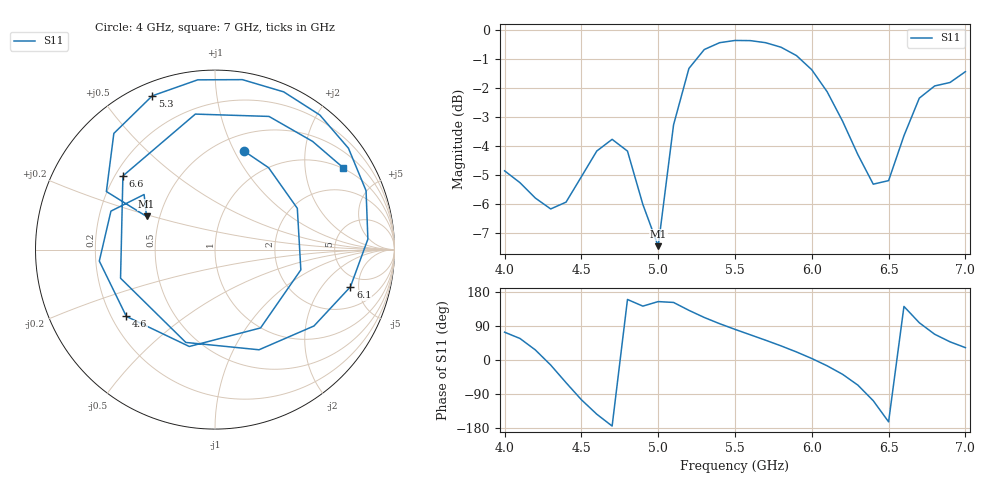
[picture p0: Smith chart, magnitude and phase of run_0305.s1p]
! Touchstone file exported from HFSS 2024.2.0
!  File:  C:/Users/wsak9/Desktop/Sim Fast/Widenad Patch/WP_AI_V1_sweep.aedt
!  Generated:  03:53:42 AM Oct 14, 2026
!  Design:  A1_model
!  Project:  WP_AI_V1_sweep
!  Setup:  Setup1
!  Solution:  Sweep
! Variables:
!  Air_gap = 3.38mm
!  Curve_Amp1 = 3.1
!  Curve_len1 = 1
!  Curve_pos = 12.565mm
!  Extra = 7.62mm
!  H_sub = 0.79mm
!  L_Patch = 21.13mm
!  L_Patch1 = 20.98mm
!  Sx = 2.91mm
!  Sy = 1.33mm
!  WS = 0.65mm
!  W_Patch = 21.04mm
!  W_Patch1 = 13.36mm
!Data is not renormalized
# GHz S MA
! Terminal data exported
! Port[1] = 1
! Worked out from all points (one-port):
!   31 points, 4 GHz to 7 GHz, reference per port
!   lowest |S11| = -7.5 dB at 5 GHz (marker M1), VSWR 2.47
!   |S11| at or under -10 dB: nowhere
!   S11 on the Smith chart (normalised r, x): 4 GHz: 0.67, +1.10; 4.6 GHz: 0.26, -0.31; 5.3 GHz: 0.06, +0.67; 6.1 GHz: 3.75, -4.02; 6.6 GHz: 0.23, +0.33; 7 GHz: 0.97, +3.14
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4  0.5716 73.4
4.1  0.5454 56.8
4.2  0.5131 26.6
4.3  0.4914 -13.3
4.4  0.5048 -59.8
4.5  0.5585 -104.9
4.6  0.6184 -143.0
4.7  0.6477 -174.3
4.8  0.6182 159.7
4.9  0.5003 142.2
5  0.4239 154.2
5.1  0.6862 151.9
5.2  0.8583 131.0
5.3  0.9252 112.2
5.4  0.9507 95.8
5.5  0.9591 80.8
5.7  0.9506 52.1
5.9  0.9033 21.3
6  0.8537 3.9
6.1  0.7824 -15.4
6.2  0.6965 -37.7
6.3  0.6096 -66.3
6.4  0.5422 -107.4
6.5  0.5498 -163.1
6.6  0.6571 141.3
6.7  0.7629 98.3
6.8  0.8007 67.9
7  0.8473 32.6
